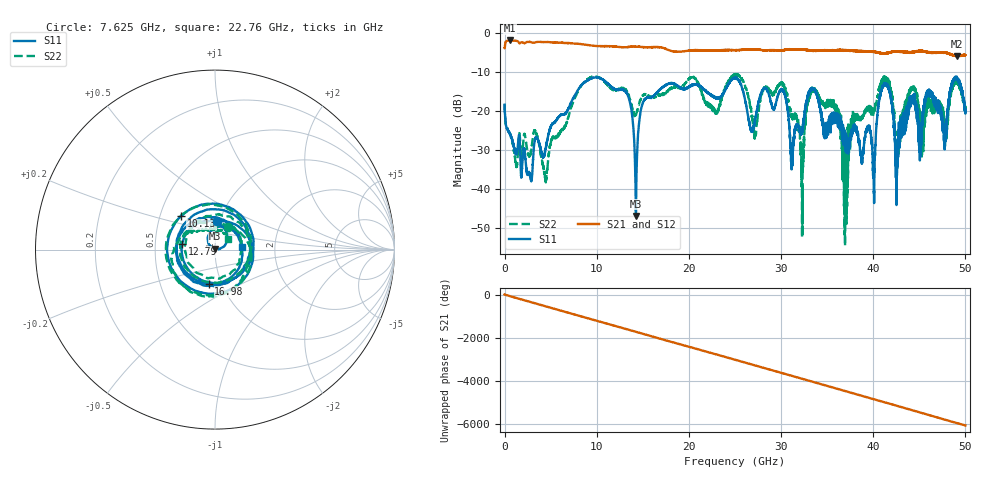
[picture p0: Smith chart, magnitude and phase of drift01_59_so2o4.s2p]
!Created with skrf (http://scikit-rf.org).
# Hz S RI R 50.0
!freq ReS11 ImS11 ReS21 ImS21 ReS12 ImS12 ReS22 ImS22
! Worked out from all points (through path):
!   10001 points, 300 kHz to 50 GHz, reference 50 ohm
!   highest |S21| = -2.00 dB at 625.3 MHz (marker M1); lowest = -6.0 dB at 49.05 GHz (marker M2)
!   group delay of S21, straight-line fit = 336 ps
!   lowest |S11| = -47.0 dB at 14.25 GHz (marker M3), VSWR 1.01, Z = 50 + j0.446 ohm
!   |S11| at or under -10 dB: start of sweep to end of sweep
!   |S22| runs from -54.7 to -10.6 dB; largest |S21 - S12| = 0.022
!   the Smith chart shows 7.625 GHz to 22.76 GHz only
!   S11 on the Smith chart (normalised r, x): 7.625 GHz: 0.97, +0.31; 10.13 GHz: 0.64, +0.26; 12.79 GHz: 0.69, +0.04; 16.98 GHz: 0.87, -0.34; 22.76 GHz: 1.35, +0.03
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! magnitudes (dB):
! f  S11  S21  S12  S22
! 300 kHz  -18.5  -4.0  -4.1  -18.3
! 625.3 MHz  -26.1  -2.0  -2.0  -26.1
! 4.44 GHz  -29.9  -2.4  -2.4  -38.1
! 7.625 GHz  -16.1  -2.8  -2.8  -16.7
! 8.335 GHz  -13.5  -2.9  -2.9  -13.5
! 10.13 GHz  -11.5  -3.4  -3.4  -11.4
! 12.79 GHz  -14.7  -3.7  -3.7  -14.3
! 14.25 GHz  -47.0  -3.6  -3.5  -21.1
! 16.67 GHz  -15.0  -3.7  -3.7  -15.9
! 16.98 GHz  -14.3  -3.8  -3.8  -15.7
! 22.76 GHz  -16.5  -4.6  -4.6  -19.9
! 25 GHz  -11.5  -4.5  -4.5  -10.8
! 27.18 GHz  -22.5  -4.3  -4.3  -26.0
! 30.22 GHz  -14.8  -4.4  -4.5  -13.3
! 32.27 GHz  -25.1  -4.3  -4.3  -43.0
! 33.34 GHz  -14.2  -4.6  -4.6  -14.7
! 37.01 GHz  -26.5  -4.5  -4.6  -29.4
! 40.04 GHz  -36.4  -4.9  -4.9  -19.8
! 41.67 GHz  -14.0  -5.0  -5.1  -13.1
! 42.6 GHz  -30.3  -4.8  -4.8  -31.2
! 49.05 GHz  -11.8  -6.0  -6.0  -12.7
! 50 GHz  -19.8  -5.7  -5.7  -19.3
